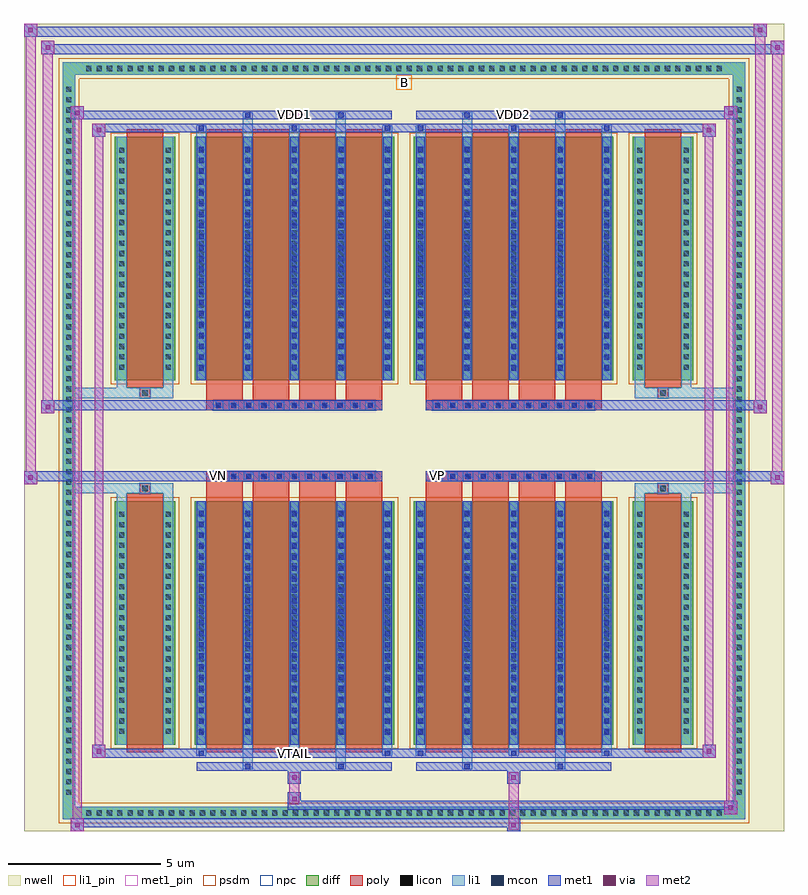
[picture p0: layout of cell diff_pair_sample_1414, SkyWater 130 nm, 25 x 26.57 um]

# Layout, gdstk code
import gdstk
lib = gdstk.Library(unit=1e-6, precision=5e-09)
def R(c, l, rs):  # rectangles x0, y0, x1, y1
    for r in rs: c.add(gdstk.rectangle(r[:2], r[2:], *l))
def A(c, l, x, y, w, h, nx, ny, dx, dy):  # array of equal rectangles
    R(c, l, [(x+i*dx, y+j*dy, x+i*dx+w, y+j*dy+h) for i in range(nx) for j in range(ny)])
def P(c, l, *ps):  # polygons
    for p in ps: c.add(gdstk.Polygon(p, *l))
nwell = (64, 20)
diff = (65, 20)
poly = (66, 20)
licon = (66, 44)
li1_pin = (67, 16)
li1 = (67, 20)
mcon = (67, 44)
met1_pin = (68, 16)
met1 = (68, 20)
via = (68, 44)
met2 = (69, 20)
psdm = (94, 20)
npc = (95, 20)

diff_pair_sample_1414 = lib.new_cell('diff_pair_sample_1414')
R(diff_pair_sample_1414, nwell, [(-12.5,-12.85,12.5,13.72), (-9.82,-11.04,-0.01,-0.8), (0.01,-11.04,9.82,-0.8), (-9.82,0.8,-0.01,11.04), (0.01,0.8,9.82,11.04)])
A(diff_pair_sample_1414, diff, -10.575, -12.45, 0.41, 0.41, 62, 2, 0.34, 24.49)
A(diff_pair_sample_1414, diff, -11.23, -11.765, 0.41, 0.41, 1, 69, 0, 0.34)
A(diff_pair_sample_1414, diff, 10.82, -11.765, 0.41, 0.41, 1, 69, 0, 0.34)
R(diff_pair_sample_1414, diff, [(-10.575,-12.45,10.575,-12.04), (-11.23,-11.765,-10.82,11.765), (10.82,-11.765,11.23,11.765), (-9.51,-9.995,-7.53,-1.985), (-6.89,-9.995,-0.32,-1.985), (0.32,-9.995,6.89,-1.985), (7.53,-9.995,9.51,-1.985), (-9.51,1.985,-7.53,9.995), (-6.89,1.985,-0.32,9.995), (0.32,1.985,6.89,9.995), (7.53,1.985,9.51,9.995), (-10.575,12.04,10.575,12.45)])
P(diff_pair_sample_1414, diff, [(11.23,12.45),(-11.23,12.45),(-11.23,-12.04),(-10.82,-12.04),(-10.82,12.04),(10.82,12.04),(10.82,-12.04),(-10.82,-12.04),(-11.23,-12.04),(-11.23,-12.45),(11.23,-12.45)])
A(diff_pair_sample_1414, poly, -6.5, -10.245, 1.2, 8.51, 4, 2, 1.53, 11.98)
A(diff_pair_sample_1414, poly, 0.71, -10.245, 1.2, 8.51, 4, 2, 1.53, 11.98)
A(diff_pair_sample_1414, poly, -6.5, -1.735, 1.2, 0.405, 4, 2, 1.53, 3.065)
A(diff_pair_sample_1414, poly, 0.71, -1.735, 1.2, 0.405, 4, 2, 1.53, 3.065)
A(diff_pair_sample_1414, poly, -6.27, -1.33, 0.33, 0.33, 11, 2, 0.5, 2.33)
A(diff_pair_sample_1414, poly, 0.94, -1.33, 0.33, 0.33, 11, 2, 0.5, 2.33)
R(diff_pair_sample_1414, poly, [(-9.12,-10.245,-7.92,-1.735), (7.92,-10.245,9.12,-1.735), (-8.685,-1.735,-8.355,-1.405), (-8.685,-1.735,-8.355,-1.405), (8.355,-1.735,8.685,-1.405), (8.355,-1.735,8.685,-1.405), (-6.5,-1.33,-0.71,-1), (0.71,-1.33,6.5,-1), (-6.5,1,-0.71,1.33), (0.71,1,6.5,1.33), (-8.685,1.405,-8.355,1.735), (-8.685,1.405,-8.355,1.735), (8.355,1.405,8.685,1.735), (8.355,1.405,8.685,1.735), (-9.12,1.735,-7.92,10.245), (7.92,1.735,9.12,10.245)])
A(diff_pair_sample_1414, licon, -10.455, -12.33, 0.17, 0.17, 62, 2, 0.34, 24.49)
A(diff_pair_sample_1414, licon, -11.11, -11.645, 0.17, 0.17, 1, 69, 0, 0.34)
A(diff_pair_sample_1414, licon, 10.94, -11.645, 0.17, 0.17, 1, 69, 0, 0.34)
A(diff_pair_sample_1414, licon, -9.37, -9.645, 0.17, 0.17, 1, 22, 0, 0.34)
A(diff_pair_sample_1414, licon, -7.84, -9.645, 0.17, 0.17, 1, 22, 0, 0.34)
A(diff_pair_sample_1414, licon, -6.75, -9.645, 0.17, 0.17, 5, 22, 1.53, 0.34)
A(diff_pair_sample_1414, licon, 0.46, -9.645, 0.17, 0.17, 5, 22, 1.53, 0.34)
A(diff_pair_sample_1414, licon, 7.67, -9.645, 0.17, 0.17, 1, 22, 0, 0.34)
A(diff_pair_sample_1414, licon, 9.2, -9.645, 0.17, 0.17, 1, 22, 0, 0.34)
A(diff_pair_sample_1414, licon, -6.19, -1.25, 0.17, 0.17, 11, 2, 0.5, 2.33)
A(diff_pair_sample_1414, licon, 1.02, -1.25, 0.17, 0.17, 11, 2, 0.5, 2.33)
A(diff_pair_sample_1414, licon, -9.37, 2.335, 0.17, 0.17, 1, 22, 0, 0.34)
A(diff_pair_sample_1414, licon, -7.84, 2.335, 0.17, 0.17, 1, 22, 0, 0.34)
A(diff_pair_sample_1414, licon, -6.75, 2.335, 0.17, 0.17, 5, 22, 1.53, 0.34)
A(diff_pair_sample_1414, licon, 0.46, 2.335, 0.17, 0.17, 5, 22, 1.53, 0.34)
A(diff_pair_sample_1414, licon, 7.67, 2.335, 0.17, 0.17, 1, 22, 0, 0.34)
A(diff_pair_sample_1414, licon, 9.2, 2.335, 0.17, 0.17, 1, 22, 0, 0.34)
R(diff_pair_sample_1414, licon, [(-8.605,-1.655,-8.435,-1.485), (8.435,-1.655,8.605,-1.485), (-8.605,1.485,-8.435,1.655), (8.435,1.485,8.605,1.655)])
R(diff_pair_sample_1414, li1_pin, [(-0.25,11.54,0.25,12.04)])
A(diff_pair_sample_1414, li1, -10.535, -12.41, 0.33, 0.33, 62, 2, 0.34, 24.49)
A(diff_pair_sample_1414, li1, -11.19, -11.725, 0.33, 0.33, 1, 69, 0, 0.34)
A(diff_pair_sample_1414, li1, 10.86, -11.725, 0.33, 0.33, 1, 69, 0, 0.34)
A(diff_pair_sample_1414, li1, -6.83, -10.37, 0.33, 0.375, 3, 2, 3.06, 20.365)
A(diff_pair_sample_1414, li1, -6.75, -10.37, 0.17, 0.17, 3, 2, 3.06, 20.57)
A(diff_pair_sample_1414, li1, 0.38, -10.37, 0.33, 0.375, 3, 2, 3.06, 20.365)
A(diff_pair_sample_1414, li1, 0.46, -10.37, 0.17, 0.17, 3, 2, 3.06, 20.57)
A(diff_pair_sample_1414, li1, -6.83, -9.995, 0.33, 8.01, 5, 2, 1.53, 11.98)
A(diff_pair_sample_1414, li1, 0.38, -9.995, 0.33, 8.01, 5, 2, 1.53, 11.98)
A(diff_pair_sample_1414, li1, -9.45, -9.725, 0.33, 0.33, 1, 22, 0, 0.34)
A(diff_pair_sample_1414, li1, -7.92, -9.725, 0.33, 0.33, 1, 22, 0, 0.34)
A(diff_pair_sample_1414, li1, -6.83, -9.725, 0.33, 0.33, 5, 22, 1.53, 0.34)
A(diff_pair_sample_1414, li1, 0.38, -9.725, 0.33, 0.33, 5, 22, 1.53, 0.34)
A(diff_pair_sample_1414, li1, 7.59, -9.725, 0.33, 0.33, 1, 22, 0, 0.34)
A(diff_pair_sample_1414, li1, 9.12, -9.725, 0.33, 0.33, 1, 22, 0, 0.34)
A(diff_pair_sample_1414, li1, -6.75, -9.675, 0.17, 0.17, 5, 21, 1.53, 0.36)
A(diff_pair_sample_1414, li1, -6.75, -9.675, 0.17, 7.37, 5, 2, 1.53, 11.98)
A(diff_pair_sample_1414, li1, 0.46, -9.675, 0.17, 0.17, 5, 21, 1.53, 0.36)
A(diff_pair_sample_1414, li1, 0.46, -9.675, 0.17, 7.37, 5, 2, 1.53, 11.98)
A(diff_pair_sample_1414, li1, -6.27, -1.33, 0.33, 0.33, 11, 2, 0.5, 2.33)
A(diff_pair_sample_1414, li1, 0.94, -1.33, 0.33, 0.33, 11, 2, 0.5, 2.33)
A(diff_pair_sample_1414, li1, -9.45, 2.255, 0.33, 0.33, 1, 22, 0, 0.34)
A(diff_pair_sample_1414, li1, -7.92, 2.255, 0.33, 0.33, 1, 22, 0, 0.34)
A(diff_pair_sample_1414, li1, -6.83, 2.255, 0.33, 0.33, 5, 22, 1.53, 0.34)
A(diff_pair_sample_1414, li1, 0.38, 2.255, 0.33, 0.33, 5, 22, 1.53, 0.34)
A(diff_pair_sample_1414, li1, 7.59, 2.255, 0.33, 0.33, 1, 22, 0, 0.34)
A(diff_pair_sample_1414, li1, 9.12, 2.255, 0.33, 0.33, 1, 22, 0, 0.34)
A(diff_pair_sample_1414, li1, -6.75, 2.305, 0.17, 0.17, 5, 21, 1.53, 0.36)
A(diff_pair_sample_1414, li1, 0.46, 2.305, 0.17, 0.17, 5, 21, 1.53, 0.36)
R(diff_pair_sample_1414, li1, [(-11.23,-12.45,-10.82,-12.04), (-11.23,-12.45,-10.82,-12.04), (-10.82,-12.45,10.82,-12.04), (10.82,-12.45,11.23,-12.04), (10.82,-12.45,11.23,-12.04), (-11.23,-12.04,-10.82,12.04), (10.82,-12.04,11.23,12.04), (-5.3,-10.8,-4.97,-9.995), (-5.22,-10.8,-5.05,-10.63), (-2.24,-10.8,-1.91,-9.995), (-2.16,-10.8,-1.99,-10.63), (1.91,-10.8,2.24,-9.995), (1.99,-10.8,2.16,-10.63), (4.97,-10.8,5.3,-9.995), (5.05,-10.8,5.22,-10.63), (-9.45,-9.995,-9.12,-1.985), (-7.92,-9.995,-7.59,-1.985), (7.59,-9.995,7.92,-1.985), (9.12,-9.995,9.45,-1.985), (-9.45,-1.985,-9.12,-1.405), (-7.92,-1.985,-7.59,-1.405), (7.59,-1.985,7.92,-1.405), (9.12,-1.985,9.45,-1.405), (-11.23,-1.735,-8.685,-1.405), (-9.45,-1.735,-8.685,-1.405), (-8.685,-1.735,-8.355,-1.405), (-8.355,-1.735,-7.59,-1.405), (7.59,-1.735,8.355,-1.405), (8.355,-1.735,8.685,-1.405), (8.355,-1.735,11.23,-1.405), (8.685,-1.735,9.45,-1.405), (-11.23,1.405,-8.685,1.735), (-9.45,1.405,-8.685,1.735), (-9.45,1.405,-9.12,1.985), (-8.685,1.405,-8.355,1.735), (-8.355,1.405,-7.59,1.735), (-7.92,1.405,-7.59,1.985), (7.59,1.405,8.355,1.735), (7.59,1.405,7.92,1.985), (8.355,1.405,8.685,1.735), (8.355,1.405,11.23,1.735), (8.685,1.405,9.45,1.735), (9.12,1.405,9.45,1.985), (-9.45,1.985,-9.12,9.995), (-7.92,1.985,-7.59,9.995), (7.59,1.985,7.92,9.995), (9.12,1.985,9.45,9.995), (-5.3,9.995,-4.97,10.8), (-2.24,9.995,-1.91,10.8), (1.91,9.995,2.24,10.8), (4.97,9.995,5.3,10.8), (-5.22,10.63,-5.05,10.8), (-2.16,10.63,-1.99,10.8), (1.99,10.63,2.16,10.8), (5.05,10.63,5.22,10.8), (-11.23,12.04,-10.82,12.45), (-11.23,12.04,-10.82,12.45), (-10.82,12.04,10.82,12.45), (10.82,12.04,11.23,12.45), (10.82,12.04,11.23,12.45)])
A(diff_pair_sample_1414, mcon, -6.75, -10.37, 0.17, 0.17, 3, 2, 3.06, 20.57)
A(diff_pair_sample_1414, mcon, 0.46, -10.37, 0.17, 0.17, 3, 2, 3.06, 20.57)
A(diff_pair_sample_1414, mcon, -6.75, -9.675, 0.17, 0.17, 5, 21, 1.53, 0.36)
A(diff_pair_sample_1414, mcon, 0.46, -9.675, 0.17, 0.17, 5, 21, 1.53, 0.36)
A(diff_pair_sample_1414, mcon, -6.19, -1.25, 0.17, 0.17, 11, 2, 0.5, 2.33)
A(diff_pair_sample_1414, mcon, 1.02, -1.25, 0.17, 0.17, 11, 2, 0.5, 2.33)
A(diff_pair_sample_1414, mcon, -6.75, 2.305, 0.17, 0.17, 5, 21, 1.53, 0.36)
A(diff_pair_sample_1414, mcon, 0.46, 2.305, 0.17, 0.17, 5, 21, 1.53, 0.36)
R(diff_pair_sample_1414, mcon, [(-5.22,-10.8,-5.05,-10.63), (-2.16,-10.8,-1.99,-10.63), (1.99,-10.8,2.16,-10.63), (5.05,-10.8,5.22,-10.63), (-5.22,10.63,-5.05,10.8), (-2.16,10.63,-1.99,10.8), (1.99,10.63,2.16,10.8), (5.05,10.63,5.22,10.8)])
R(diff_pair_sample_1414, met1_pin, [(-3.74,-10.41,-3.47,-10.14), (-6.24,-1.29,-5.97,-1.02), (0.97,-1.29,1.24,-1.02), (-3.74,10.59,-3.47,10.86), (3.47,10.59,3.74,10.86)])
A(diff_pair_sample_1414, met1, -6.81, -10.43, 0.29, 0.29, 3, 2, 3.06, 20.57)
A(diff_pair_sample_1414, met1, 0.4, -10.43, 0.29, 0.29, 3, 2, 3.06, 20.57)
A(diff_pair_sample_1414, met1, -6.81, -9.995, 0.29, 8.01, 5, 2, 1.53, 11.98)
A(diff_pair_sample_1414, met1, 0.4, -9.995, 0.29, 8.01, 5, 2, 1.53, 11.98)
A(diff_pair_sample_1414, met1, -6.81, -9.735, 0.29, 0.29, 5, 21, 1.53, 0.36)
A(diff_pair_sample_1414, met1, 0.4, -9.735, 0.29, 0.29, 5, 21, 1.53, 0.36)
A(diff_pair_sample_1414, met1, -6.25, -1.31, 0.29, 0.29, 11, 2, 0.5, 2.33)
A(diff_pair_sample_1414, met1, 0.96, -1.31, 0.29, 0.29, 11, 2, 0.5, 2.33)
A(diff_pair_sample_1414, met1, -6.81, 2.245, 0.29, 0.29, 5, 21, 1.53, 0.36)
A(diff_pair_sample_1414, met1, 0.4, 2.245, 0.29, 0.29, 5, 21, 1.53, 0.36)
R(diff_pair_sample_1414, met1, [(-10.96,-12.85,-10.53,-12.42), (3.39,-12.85,3.82,-12.42), (-10.96,-12.71,3.82,-12.42), (10.53,-12.28,10.96,-11.85), (-3.82,-12.14,10.96,-11.85), (-3.82,-12,-3.39,-11.57), (-3.82,-11.29,-3.39,-10.86), (3.39,-11.29,3.82,-10.86), (-6.81,-10.86,-0.4,-10.57), (-5.28,-10.86,-4.99,-10.57), (-2.22,-10.86,-1.93,-10.57), (0.4,-10.86,6.81,-10.57), (1.93,-10.86,2.22,-10.57), (4.99,-10.86,5.28,-10.57), (-10.25,-10.43,-9.82,-10), (-10.25,-10.43,-6.81,-10.14), (-6.81,-10.43,-0.4,-10.14), (-0.4,-10.43,0.4,-10.14), (0.4,-10.43,6.81,-10.14), (6.81,-10.43,10.25,-10.14), (9.82,-10.43,10.25,-10), (-12.5,-1.43,-12.07,-1), (12.07,-1.43,12.5,-1), (-12.5,-1.33,-0.71,-1), (-6.5,-1.33,-0.71,-1), (0.71,-1.33,6.5,-1), (0.71,-1.33,12.5,-1), (-11.93,0.9,-11.5,1.33), (11.5,0.9,11.93,1.33), (-11.93,1,-6.5,1.33), (-6.5,1,-0.71,1.33), (0.71,1,6.5,1.33), (6.5,1,11.93,1.33), (-10.25,10,-9.82,10.43), (9.82,10,10.25,10.43), (-10.25,10.14,-6.81,10.43), (-6.81,10.14,-0.4,10.43), (-0.4,10.14,0.4,10.43), (0.4,10.14,6.81,10.43), (6.81,10.14,10.25,10.43), (-10.96,10.57,-10.53,11), (-10.96,10.57,-6.81,10.86), (-6.81,10.57,-0.4,10.86), (-5.28,10.57,-4.99,10.86), (-2.22,10.57,-1.93,10.86), (0.4,10.57,6.81,10.86), (1.93,10.57,2.22,10.86), (4.99,10.57,5.28,10.86), (6.81,10.57,10.96,10.86), (10.53,10.57,10.96,11), (-11.93,12.72,-11.5,13.15), (-11.93,12.72,-9.82,13.05), (-9.82,12.72,9.82,13.05), (9.82,12.72,12.5,13.05), (12.07,12.72,12.5,13.15), (-12.5,13.29,-12.07,13.72), (-12.5,13.29,-9.82,13.62), (-9.82,13.29,9.82,13.62), (9.82,13.29,11.93,13.62), (11.5,13.29,11.93,13.72)])
R(diff_pair_sample_1414, via, [(-10.82,-12.71,-10.67,-12.56), (3.53,-12.71,3.68,-12.56), (10.67,-12.14,10.82,-11.99), (-3.68,-11.86,-3.53,-11.71), (-3.68,-11.15,-3.53,-11), (3.53,-11.15,3.68,-11), (-10.11,-10.29,-9.96,-10.14), (9.96,-10.29,10.11,-10.14), (-12.36,-1.29,-12.21,-1.14), (12.21,-1.29,12.36,-1.14), (-11.79,1.04,-11.64,1.19), (11.64,1.04,11.79,1.19), (-10.11,10.14,-9.96,10.29), (9.96,10.14,10.11,10.29), (-10.82,10.71,-10.67,10.86), (10.67,10.71,10.82,10.86), (-11.79,12.86,-11.64,13.01), (12.21,12.86,12.36,13.01), (-12.36,13.43,-12.21,13.58), (11.64,13.43,11.79,13.58)])
R(diff_pair_sample_1414, met2, [(-10.96,-12.85,-10.53,-12.42), (-10.89,-12.85,-10.6,11), (-10.6,-12.85,-10.53,-12.42), (-10.91,-12.8,-10.58,-12.47), (3.44,-12.8,3.77,-12.47), (3.44,-12.47,3.77,-11.24), (10.53,-12.28,10.96,-11.85), (10.6,-12.28,10.89,11), (10.89,-12.28,10.96,-11.85), (10.58,-12.23,10.91,-11.9), (-3.77,-11.95,-3.44,-11.62), (-3.77,-11.62,-3.44,-11.24), (-3.77,-11.24,-3.44,-10.91), (3.44,-11.24,3.77,-10.91), (-10.25,-10.43,-9.82,-10), (-10.18,-10.43,-9.89,10.43), (-9.89,-10.43,-9.82,-10), (9.82,-10.43,10.25,-10), (9.89,-10.43,10.18,10.43), (10.18,-10.43,10.25,-10), (-10.2,-10.38,-9.87,-10.05), (9.87,-10.38,10.2,-10.05), (-12.5,-1.43,-12.07,-1), (-12.45,-1.43,-12.12,13.72), (-12.12,-1.43,-12.07,-1), (12.07,-1.43,12.5,-1), (12.12,-1.43,12.45,13.15), (12.45,-1.43,12.5,-1), (-12.45,-1.38,-12.12,-1.05), (12.12,-1.38,12.45,-1.05), (-11.93,0.9,-11.5,1.33), (-11.88,0.9,-11.55,13.15), (-11.55,0.9,-11.5,1.33), (11.5,0.9,11.93,1.33), (11.55,0.9,11.88,13.72), (11.88,0.9,11.93,1.33), (-11.88,0.95,-11.55,1.28), (11.55,0.95,11.88,1.28), (-10.25,10,-9.82,10.43), (-9.89,10,-9.82,10.43), (9.82,10,10.25,10.43), (10.18,10,10.25,10.43), (-10.2,10.05,-9.87,10.38), (9.87,10.05,10.2,10.38), (-10.96,10.57,-10.53,11), (-10.6,10.57,-10.53,11), (10.53,10.57,10.96,11), (10.89,10.57,10.96,11), (-10.91,10.62,-10.58,10.95), (10.58,10.62,10.91,10.95), (-11.93,12.72,-11.5,13.15), (-11.55,12.72,-11.5,13.15), (12.07,12.72,12.5,13.15), (12.45,12.72,12.5,13.15), (-11.88,12.77,-11.55,13.1), (12.12,12.77,12.45,13.1), (-12.5,13.29,-12.07,13.72), (-12.12,13.29,-12.07,13.72), (11.5,13.29,11.93,13.72), (11.88,13.29,11.93,13.72), (-12.45,13.34,-12.12,13.67), (11.55,13.34,11.88,13.67)])
R(diff_pair_sample_1414, psdm, [(-9.64,-10.125,-7.4,-1.855), (-7.02,-10.125,-0.19,-1.855), (0.19,-10.125,7.02,-1.855), (7.4,-10.125,9.64,-1.855), (-9.64,1.855,-7.4,10.125), (-7.02,1.855,-0.19,10.125), (0.19,1.855,7.02,10.125), (7.4,1.855,9.64,10.125)])
P(diff_pair_sample_1414, psdm, [(11.36,12.58),(-11.36,12.58),(-11.36,-11.91),(-10.69,-11.91),(-10.69,11.91),(10.69,11.91),(10.69,-11.91),(-10.69,-11.91),(-11.36,-11.91),(-11.36,-12.58),(11.36,-12.58)])
A(diff_pair_sample_1414, npc, -6.29, -1.35, 0.37, 0.37, 11, 2, 0.5, 2.33)
A(diff_pair_sample_1414, npc, 0.92, -1.35, 0.37, 0.37, 11, 2, 0.5, 2.33)
R(diff_pair_sample_1414, npc, [(-8.705,-1.755,-8.335,-1.385), (8.335,-1.755,8.705,-1.385), (-6.29,-1.35,-5.42,-0.98), (-6.29,-1.35,-5.42,-0.98), (-5.79,-1.35,-4.92,-0.98), (-5.79,-1.35,-4.92,-0.98), (-5.29,-1.35,-4.42,-0.98), (-5.29,-1.35,-4.42,-0.98), (-4.79,-1.35,-3.92,-0.98), (-4.79,-1.35,-3.92,-0.98), (-4.29,-1.35,-3.42,-0.98), (-4.29,-1.35,-3.42,-0.98), (-3.79,-1.35,-2.92,-0.98), (-3.79,-1.35,-2.92,-0.98), (-3.29,-1.35,-2.42,-0.98), (-3.29,-1.35,-2.42,-0.98), (-2.79,-1.35,-1.92,-0.98), (-2.79,-1.35,-1.92,-0.98), (-2.29,-1.35,-1.42,-0.98), (-2.29,-1.35,-1.42,-0.98), (-1.79,-1.35,-0.92,-0.98), (-1.79,-1.35,-0.92,-0.98), (0.92,-1.35,1.79,-0.98), (0.92,-1.35,1.79,-0.98), (1.42,-1.35,2.29,-0.98), (1.42,-1.35,2.29,-0.98), (1.92,-1.35,2.79,-0.98), (1.92,-1.35,2.79,-0.98), (2.42,-1.35,3.29,-0.98), (2.42,-1.35,3.29,-0.98), (2.92,-1.35,3.79,-0.98), (2.92,-1.35,3.79,-0.98), (3.42,-1.35,4.29,-0.98), (3.42,-1.35,4.29,-0.98), (3.92,-1.35,4.79,-0.98), (3.92,-1.35,4.79,-0.98), (4.42,-1.35,5.29,-0.98), (4.42,-1.35,5.29,-0.98), (4.92,-1.35,5.79,-0.98), (4.92,-1.35,5.79,-0.98), (5.42,-1.35,6.29,-0.98), (5.42,-1.35,6.29,-0.98), (-6.29,0.98,-5.42,1.35), (-6.29,0.98,-5.42,1.35), (-5.79,0.98,-4.92,1.35), (-5.79,0.98,-4.92,1.35), (-5.29,0.98,-4.42,1.35), (-5.29,0.98,-4.42,1.35), (-4.79,0.98,-3.92,1.35), (-4.79,0.98,-3.92,1.35), (-4.29,0.98,-3.42,1.35), (-4.29,0.98,-3.42,1.35), (-3.79,0.98,-2.92,1.35), (-3.79,0.98,-2.92,1.35), (-3.29,0.98,-2.42,1.35), (-3.29,0.98,-2.42,1.35), (-2.79,0.98,-1.92,1.35), (-2.79,0.98,-1.92,1.35), (-2.29,0.98,-1.42,1.35), (-2.29,0.98,-1.42,1.35), (-1.79,0.98,-0.92,1.35), (-1.79,0.98,-0.92,1.35), (0.92,0.98,1.79,1.35), (0.92,0.98,1.79,1.35), (1.42,0.98,2.29,1.35), (1.42,0.98,2.29,1.35), (1.92,0.98,2.79,1.35), (1.92,0.98,2.79,1.35), (2.42,0.98,3.29,1.35), (2.42,0.98,3.29,1.35), (2.92,0.98,3.79,1.35), (2.92,0.98,3.79,1.35), (3.42,0.98,4.29,1.35), (3.42,0.98,4.29,1.35), (3.92,0.98,4.79,1.35), (3.92,0.98,4.79,1.35), (4.42,0.98,5.29,1.35), (4.42,0.98,5.29,1.35), (4.92,0.98,5.79,1.35), (4.92,0.98,5.79,1.35), (5.42,0.98,6.29,1.35), (5.42,0.98,6.29,1.35), (-8.705,1.385,-8.335,1.755), (8.335,1.385,8.705,1.755)])
diff_pair_sample_1414.add(gdstk.Label('VTAIL', (-3.605,-10.275), layer=68, texttype=5))
diff_pair_sample_1414.add(gdstk.Label('VN', (-6.105,-1.155), layer=68, texttype=5))
diff_pair_sample_1414.add(gdstk.Label('VP', (1.105,-1.155), layer=68, texttype=5))
diff_pair_sample_1414.add(gdstk.Label('B', (0,11.79), layer=67, texttype=5))
diff_pair_sample_1414.add(gdstk.Label('VDD2', (3.605,10.725), layer=68, texttype=5))
diff_pair_sample_1414.add(gdstk.Label('VDD1', (-3.605,10.725), layer=68, texttype=5))

lib.write_gds('diff_pair_sample_1414.gds')
